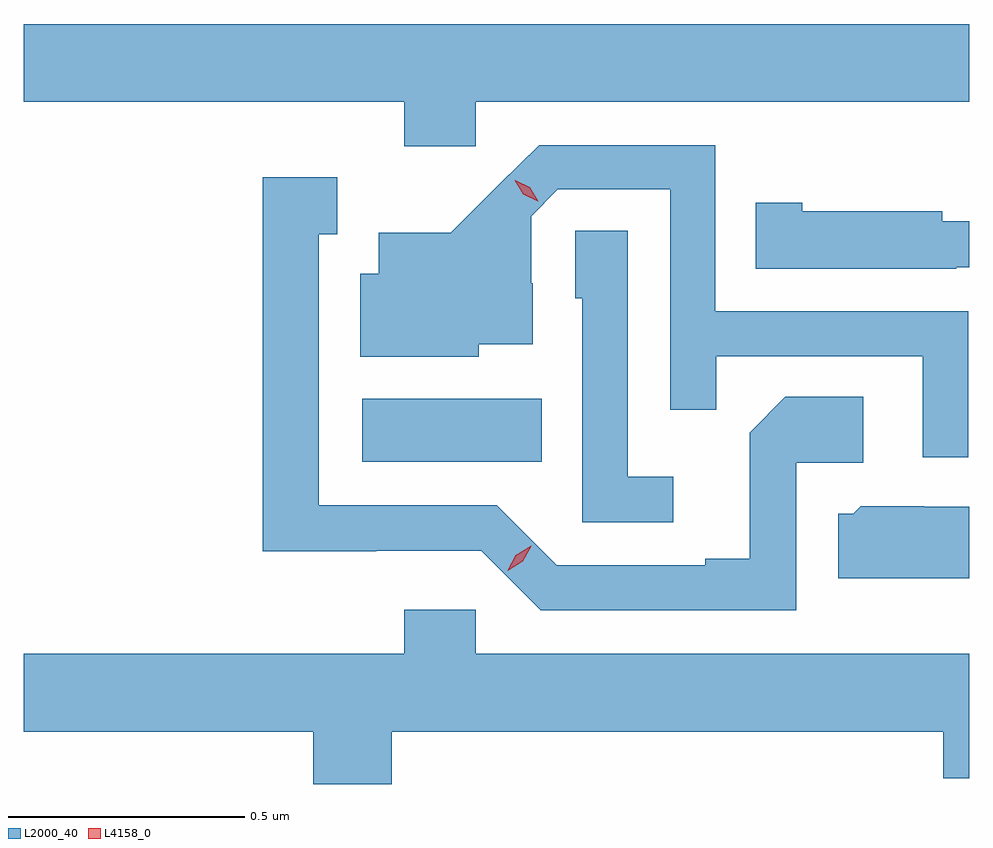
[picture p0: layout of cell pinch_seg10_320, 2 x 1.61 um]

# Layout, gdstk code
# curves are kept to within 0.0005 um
import gdstk
lib = gdstk.Library(unit=1e-6, precision=1e-09)
def R(c, l, rs):  # rectangles x0, y0, x1, y1
    for r in rs: c.add(gdstk.rectangle(r[:2], r[2:], *l))
def P(c, l, *ps):  # polygons
    for p in ps: c.add(gdstk.Polygon(p, *l))
L2000_40 = (2000, 40)
L4158_0 = (4158, 0)

pinch_seg10_320 = lib.new_cell('pinch_seg10_320')
R(pinch_seg10_320, L2000_40, [(414.654,1299.554,415.034,1299.688)])
P(pinch_seg10_320, L2000_40, [(414.894,1300.316),(415.938,1300.316),(415.938,1300.48),(413.938,1300.48),(413.938,1300.316),(414.743,1300.316),(414.743,1300.221),(414.894,1300.221)],
  [(415.935,1299.873),(415.401,1299.873),(415.401,1300.224),(415.028,1300.224),(414.841,1300.039),(414.689,1300.039),(414.689,1299.952),(414.65,1299.952),(414.65,1299.776),(414.9,1299.776),(414.9,1299.803),(415.015,1299.803),(415.015,1299.932),(415.011,1299.932),(415.011,1300.074),(415.068,1300.131),(415.305,1300.131),(415.305,1299.664),(415.403,1299.664),(415.403,1299.777),(415.839,1299.777),(415.839,1299.564),(415.935,1299.564)],
  [(415.572,1299.552),(415.714,1299.552),(415.714,1299.692),(415.549,1299.692),(415.473,1299.616),(415.473,1299.349),(415.379,1299.349),(415.379,1299.336),(415.065,1299.336),(414.939,1299.462),(414.562,1299.462),(414.562,1300.035),(414.601,1300.035),(414.601,1300.156),(414.444,1300.156),(414.444,1299.365),(414.684,1299.365),(414.684,1299.366),(414.906,1299.366),(415.032,1299.24),(415.572,1299.24)],
  [(415.91,1299.966),(415.938,1299.966),(415.938,1300.063),(415.881,1300.063),(415.881,1300.084),(415.584,1300.084),(415.584,1300.102),(415.486,1300.102),(415.486,1299.962),(415.91,1299.962)],
  [(415.312,1299.523),(415.215,1299.523),(415.215,1300.043),(415.104,1300.043),(415.104,1299.9),(415.119,1299.9),(415.119,1299.426),(415.312,1299.426)],
  [(415.938,1299.459),(415.842,1299.459),(415.842,1299.46),(415.708,1299.46),(415.692,1299.444),(415.661,1299.444),(415.661,1299.308),(415.938,1299.308)],
  [(414.716,1298.984),(415.883,1298.984),(415.883,1298.885),(415.938,1298.885),(415.938,1299.148),(414.894,1299.148),(414.894,1299.241),(414.743,1299.241),(414.743,1299.148),(413.938,1299.148),(413.938,1298.984),(414.551,1298.984),(414.551,1298.873),(414.716,1298.873)])
P(pinch_seg10_320, L4158_0, [(415.025,1300.105),(414.995,1300.12),(414.977,1300.15),(414.977,1300.15),(414.978,1300.15),(415.008,1300.135),(415.026,1300.105),(415.026,1300.105)],
  [(414.962,1299.324),(414.962,1299.325),(414.979,1299.357),(415.011,1299.377),(415.011,1299.377),(415.011,1299.376),(414.994,1299.344),(414.962,1299.324)])

lib.write_gds('pinch_seg10_320.gds')
